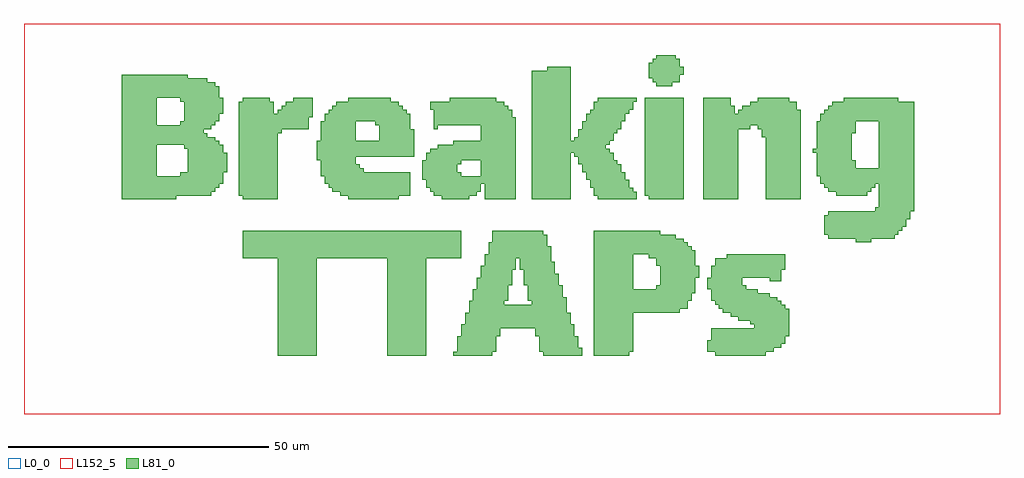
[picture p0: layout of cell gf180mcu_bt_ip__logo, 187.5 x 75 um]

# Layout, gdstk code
import gdstk
lib = gdstk.Library(unit=1e-6, precision=1e-09)
def R(c, l, rs):  # rectangles x0, y0, x1, y1
    for r in rs: c.add(gdstk.rectangle(r[:2], r[2:], *l))
def P(c, l, *ps):  # polygons
    for p in ps: c.add(gdstk.Polygon(p, *l))
L0_0 = (0, 0)
L81_0 = (81, 0)
L152_5 = (152, 5)

gf180mcu_bt_ip__logo = lib.new_cell('gf180mcu_bt_ip__logo')
R(gf180mcu_bt_ip__logo, L0_0, [(0,0,187.5,75)])
P(gf180mcu_bt_ip__logo, L81_0, [(132.75,11.25),(132.75,12),(131.25,12),(131.25,14.25),(132,14.25),(132,16.5),(140.25,16.5),(140.25,17.25),(139.5,17.25),(139.5,18),(137.25,18),(137.25,18.75),(135.75,18.75),(135.75,19.5),(134.25,19.5),(134.25,20.25),(133.5,20.25),(133.5,21),(132.75,21),(132.75,21.75),(132,21.75),(132,24),(131.25,24),(131.25,26.25),(132,26.25),(132,28.5),(132.75,28.5),(132.75,30),(135,30),(135,30.75),(146.25,30.75),(146.25,27.75),(145.5,27.75),(145.5,25.5),(143.25,25.5),(143.25,26.25),(138,26.25),(138,24.75),(138.75,24.75),(138.75,24),(141,24),(141,23.25),(143.25,23.25),(143.25,22.5),(144.75,22.5),(144.75,21.75),(145.5,21.75),(145.5,21),(146.25,21),(146.25,20.25),(147,20.25),(147,15),(146.25,15),(146.25,13.5),(145.5,13.5),(145.5,12.75),(144,12.75),(144,12),(142.5,12),(142.5,11.25)],
  [(48.75,11.25),(48.75,30),(42,30),(42,35.25),(84,35.25),(84,30),(77.25,30),(77.25,11.25),(69.75,11.25),(69.75,30),(56.25,30),(56.25,11.25)],
  [(82.5,11.25),(82.5,12),(83.25,12),(83.25,15),(84,15),(84,17.25),(84.75,17.25),(84.75,19.5),(85.5,19.5),(85.5,21.75),(86.25,21.75),(86.25,24),(87,24),(87,26.25),(87.75,26.25),(87.75,28.5),(88.5,28.5),(88.5,30),(94.5,30),(94.5,27.75),(93.75,27.75),(93.75,24.75),(93,24.75),(93,21.75),(92.25,21.75),(92.25,21),(97.5,21),(97.5,21.75),(96.75,21.75),(96.75,24.75),(96,24.75),(96,27.75),(95.25,27.75),(95.25,30),(88.5,30),(88.5,30.75),(89.25,30.75),(89.25,33),(90,33),(90,35.25),(99.75,35.25),(99.75,34.5),(100.5,34.5),(100.5,32.25),(101.25,32.25),(101.25,29.25),(102,29.25),(102,27),(102.75,27),(102.75,24.75),(103.5,24.75),(103.5,22.5),(104.25,22.5),(104.25,19.5),(105,19.5),(105,17.25),(105.75,17.25),(105.75,15),(106.5,15),(106.5,12.75),(107.25,12.75),(107.25,11.25),(99.75,11.25),(99.75,12),(99,12),(99,15),(98.25,15),(98.25,16.5),(91.5,16.5),(91.5,15),(90.75,15),(90.75,12),(90,12),(90,11.25)],
  [(109.5,11.25),(109.5,30.75),(117,30.75),(117,24),(121.5,24),(121.5,24.75),(122.25,24.75),(122.25,28.5),(121.5,28.5),(121.5,30),(120,30),(120,30.75),(109.5,30.75),(109.5,35.25),(122.25,35.25),(122.25,34.5),(125.25,34.5),(125.25,33.75),(126.75,33.75),(126.75,33),(127.5,33),(127.5,32.25),(128.25,32.25),(128.25,31.5),(129,31.5),(129,28.5),(129.75,28.5),(129.75,26.25),(129,26.25),(129,23.25),(128.25,23.25),(128.25,21.75),(127.5,21.75),(127.5,20.25),(126,20.25),(126,19.5),(117,19.5),(117,12),(116.25,12),(116.25,11.25)],
  [(42,41.25),(42,42),(41.25,42),(41.25,60),(42,60),(42,60.75),(47.25,60.75),(47.25,60),(48,60),(48,57.75),(48.75,57.75),(48.75,58.5),(49.5,58.5),(49.5,59.25),(50.25,59.25),(50.25,60),(51.75,60),(51.75,60.75),(55.5,60.75),(55.5,57),(54.75,57),(54.75,54.75),(49.5,54.75),(49.5,54),(48.75,54),(48.75,41.25)],
  [(62.25,41.25),(62.25,42),(60.75,42),(60.75,42.75),(59.25,42.75),(59.25,43.5),(58.5,43.5),(58.5,44.25),(57.75,44.25),(57.75,45.75),(57,45.75),(57,48.75),(56.25,48.75),(56.25,52.5),(57,52.5),(57,56.25),(63.75,56.25),(63.75,52.5),(68.25,52.5),(68.25,55.5),(67.5,55.5),(67.5,56.25),(57.75,56.25),(57.75,57.75),(58.5,57.75),(58.5,58.5),(59.25,58.5),(59.25,59.25),(60,59.25),(60,60),(62.25,60),(62.25,60.75),(70.5,60.75),(70.5,60),(72,60),(72,59.25),(72.75,59.25),(72.75,58.5),(73.5,58.5),(73.5,57.75),(74.25,57.75),(74.25,54.75),(75,54.75),(75,49.5),(63.75,49.5),(63.75,48),(64.5,48),(64.5,47.25),(65.25,47.25),(65.25,46.5),(74.25,46.5),(74.25,42),(72,42),(72,41.25)],
  [(80.25,41.25),(80.25,42),(78.75,42),(78.75,42.75),(78,42.75),(78,43.5),(77.25,43.5),(77.25,45),(76.5,45),(76.5,48.75),(84,48.75),(84,48),(83.25,48),(83.25,46.5),(84,46.5),(84,45.75),(87.75,45.75),(87.75,48.75),(77.25,48.75),(77.25,50.25),(78,50.25),(78,51),(79.5,51),(79.5,51.75),(82.5,51.75),(82.5,52.5),(87.75,52.5),(87.75,55.5),(79.5,55.5),(79.5,54.75),(78.75,54.75),(78.75,58.5),(78,58.5),(78,60),(81.75,60),(81.75,60.75),(90.75,60.75),(90.75,60),(92.25,60),(92.25,59.25),(93,59.25),(93,58.5),(93.75,58.5),(93.75,57),(94.5,57),(94.5,41.25),(88.5,41.25),(88.5,44.25),(87.75,44.25),(87.75,42.75),(87,42.75),(87,42),(85.5,42),(85.5,41.25)],
  [(120,41.25),(120,42),(119.25,42),(119.25,60.75),(126.75,60.75),(126.75,41.25)],
  [(130.5,41.25),(130.5,60.75),(135.75,60.75),(135.75,59.25),(136.5,59.25),(136.5,57.75),(137.25,57.75),(137.25,58.5),(138,58.5),(138,59.25),(139.5,59.25),(139.5,60),(141,60),(141,60.75),(147,60.75),(147,60),(148.5,60),(148.5,58.5),(149.25,58.5),(149.25,41.25),(142.5,41.25),(142.5,53.25),(141.75,53.25),(141.75,54.75),(141,54.75),(141,55.5),(139.5,55.5),(139.5,54.75),(137.25,54.75),(137.25,41.25)],
  [(159.75,33),(159.75,33.75),(154.5,33.75),(154.5,34.5),(153.75,34.5),(153.75,38.25),(154.5,38.25),(154.5,39),(163.5,39),(163.5,39.75),(164.25,39.75),(164.25,44.25),(163.5,44.25),(163.5,43.5),(162.75,43.5),(162.75,42.75),(162,42.75),(162,42),(156,42),(156,42.75),(154.5,42.75),(154.5,43.5),(153.75,43.5),(153.75,44.25),(153,44.25),(153,45.75),(152.25,45.75),(152.25,50.25),(151.5,50.25),(151.5,51),(152.25,51),(152.25,56.25),(159.75,56.25),(159.75,54),(159,54),(159,48.75),(159.75,48.75),(159.75,47.25),(164.25,47.25),(164.25,56.25),(153,56.25),(153,57.75),(153.75,57.75),(153.75,58.5),(154.5,58.5),(154.5,59.25),(155.25,59.25),(155.25,60),(157.5,60),(157.5,60.75),(168,60.75),(168,60),(171,60),(171,39),(170.25,39),(170.25,37.5),(169.5,37.5),(169.5,36),(168.75,36),(168.75,35.25),(168,35.25),(168,34.5),(167.25,34.5),(167.25,33.75),(162.75,33.75),(162.75,33)],
  [(18.75,41.25),(18.75,51.75),(25.5,51.75),(25.5,45.75),(30,45.75),(30,46.5),(31.5,46.5),(31.5,51),(30.75,51),(30.75,51.75),(18.75,51.75),(18.75,60.75),(25.5,60.75),(25.5,55.5),(30,55.5),(30,56.25),(30.75,56.25),(30.75,60),(30,60),(30,60.75),(18.75,60.75),(18.75,65.25),(31.5,65.25),(31.5,64.5),(35.25,64.5),(35.25,63.75),(36.75,63.75),(36.75,63),(37.5,63),(37.5,60.75),(38.25,60.75),(38.25,57.75),(37.5,57.75),(37.5,56.25),(36.75,56.25),(36.75,55.5),(36,55.5),(36,54.75),(34.5,54.75),(34.5,54),(35.25,54),(35.25,53.25),(36.75,53.25),(36.75,52.5),(37.5,52.5),(37.5,51.75),(38.25,51.75),(38.25,50.25),(39,50.25),(39,46.5),(38.25,46.5),(38.25,44.25),(37.5,44.25),(37.5,43.5),(36.75,43.5),(36.75,42.75),(36,42.75),(36,42),(29.25,42),(29.25,41.25)],
  [(97.5,41.25),(97.5,66),(100.5,66),(100.5,66.75),(105,66.75),(105,52.5),(105.75,52.5),(105.75,53.25),(106.5,53.25),(106.5,54.75),(107.25,54.75),(107.25,56.25),(108,56.25),(108,57.75),(108.75,57.75),(108.75,58.5),(109.5,58.5),(109.5,60),(110.25,60),(110.25,60.75),(117.75,60.75),(117.75,60),(117,60),(117,58.5),(116.25,58.5),(116.25,57.75),(115.5,57.75),(115.5,56.25),(114.75,56.25),(114.75,54.75),(114,54.75),(114,54),(113.25,54),(113.25,52.5),(112.5,52.5),(112.5,51.75),(111.75,51.75),(111.75,51),(112.5,51),(112.5,50.25),(113.25,50.25),(113.25,48.75),(114,48.75),(114,48),(114.75,48),(114.75,46.5),(115.5,46.5),(115.5,45),(116.25,45),(116.25,43.5),(117,43.5),(117,42.75),(117.75,42.75),(117.75,41.25),(110.25,41.25),(110.25,42),(109.5,42),(109.5,43.5),(108.75,43.5),(108.75,45),(108,45),(108,46.5),(107.25,46.5),(107.25,48),(106.5,48),(106.5,49.5),(105.75,49.5),(105.75,50.25),(105,50.25),(105,41.25)],
  [(121.5,63),(121.5,63.75),(120.75,63.75),(120.75,64.5),(120,64.5),(120,67.5),(120.75,67.5),(120.75,68.25),(121.5,68.25),(121.5,69),(125.25,69),(125.25,68.25),(126,68.25),(126,66.75),(126.75,66.75),(126.75,65.25),(126,65.25),(126,63.75),(124.5,63.75),(124.5,63)])
R(gf180mcu_bt_ip__logo, L152_5, [(0,0,187.5,75)])

lib.write_gds('gf180mcu_bt_ip__logo.gds')
